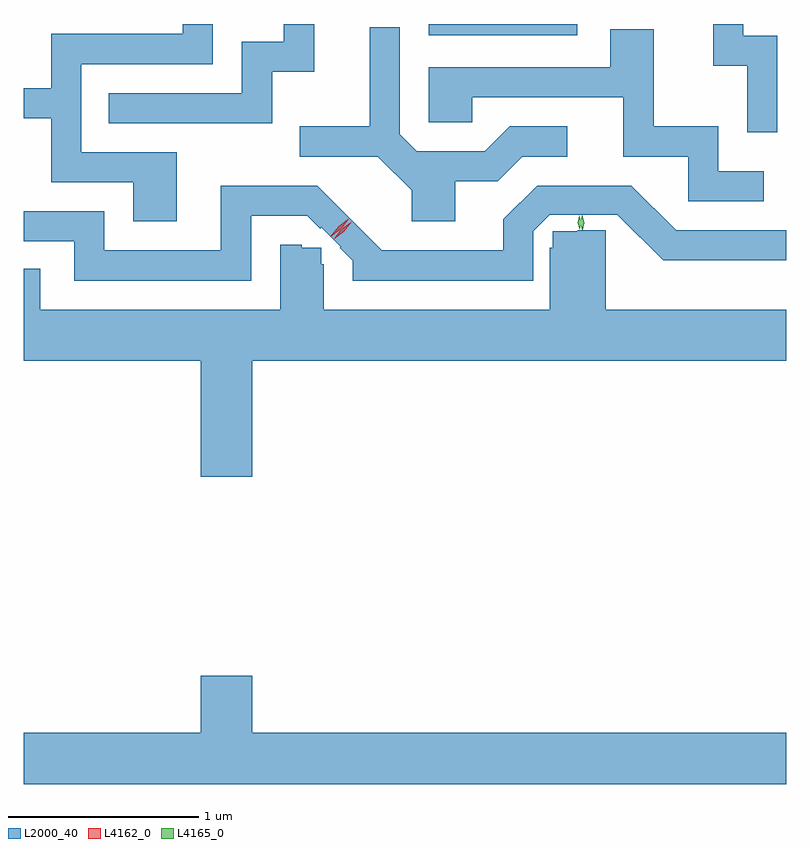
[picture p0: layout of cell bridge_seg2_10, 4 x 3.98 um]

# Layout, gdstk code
import gdstk
lib = gdstk.Library(unit=1e-6, precision=1e-09)
def R(c, l, rs):  # rectangles x0, y0, x1, y1
    for r in rs: c.add(gdstk.rectangle(r[:2], r[2:], *l))
def P(c, l, *ps):  # polygons
    for p in ps: c.add(gdstk.Polygon(p, *l))
L2000_40 = (2000, 40)
L4162_0 = (4162, 0)
L4165_0 = (4165, 0)

bridge_seg2_10 = lib.new_cell('bridge_seg2_10')
R(bridge_seg2_10, L2000_40, [(1894.591,1014.501,1895.369,1014.561)])
P(bridge_seg2_10, L2000_40, [(1893.769,1014.311),(1893.989,1014.311),(1893.989,1014.561),(1893.831,1014.561),(1893.831,1014.469),(1893.611,1014.469),(1893.611,1014.199),(1892.913,1014.199),(1892.913,1014.041),(1893.769,1014.041)],
  [(1896.419,1014.499),(1896.239,1014.499),(1896.239,1014.561),(1896.081,1014.561),(1896.081,1014.341),(1896.261,1014.341),(1896.261,1013.993),(1896.419,1013.993)],
  [(1893.269,1013.889),(1892.769,1013.889),(1892.769,1014.351),(1893.459,1014.351),(1893.459,1014.561),(1893.301,1014.561),(1893.301,1014.509),(1892.611,1014.509),(1892.611,1014.224),(1892.466,1014.224),(1892.466,1014.066),(1892.611,1014.066),(1892.611,1013.731),(1893.041,1013.731),(1893.041,1013.526),(1893.269,1013.526)],
  [(1894.729,1013.736),(1894.952,1013.736),(1895.082,1013.866),(1895.318,1013.866),(1895.318,1014.024),(1895.014,1014.024),(1894.884,1013.894),(1894.527,1013.894),(1894.439,1013.982),(1894.439,1014.543),(1894.281,1014.543),(1894.281,1014.024),(1893.913,1014.024),(1893.913,1013.866),(1894.324,1013.866),(1894.501,1013.689),(1894.501,1013.526),(1894.729,1013.526)],
  [(1896.348,1013.789),(1896.109,1013.789),(1896.109,1014.024),(1895.769,1014.024),(1895.769,1014.534),(1895.541,1014.534),(1895.541,1014.334),(1894.591,1014.334),(1894.591,1014.046),(1894.819,1014.046),(1894.819,1014.176),(1895.611,1014.176),(1895.611,1013.866),(1895.951,1013.866),(1895.951,1013.631),(1896.348,1013.631)],
  [(1893.659,1013.556),(1893.954,1013.556),(1894.022,1013.488),(1894.028,1013.494),(1894.129,1013.393),(1894.123,1013.387),(1894.191,1013.319),(1894.191,1013.216),(1895.139,1013.216),(1895.139,1013.474),(1895.226,1013.561),(1895.579,1013.561),(1895.819,1013.321),(1896.466,1013.321),(1896.466,1013.479),(1895.887,1013.479),(1895.652,1013.714),(1895.159,1013.714),(1894.981,1013.537),(1894.981,1013.374),(1894.345,1013.374),(1894.005,1013.714),(1893.501,1013.714),(1893.501,1013.374),(1892.889,1013.374),(1892.889,1013.579),(1892.466,1013.579),(1892.466,1013.421),(1892.731,1013.421),(1892.731,1013.216),(1893.659,1013.216)],
  [(1893.664,1012.796),(1896.466,1012.796),(1896.466,1013.064),(1895.519,1013.064),(1895.519,1013.387),(1895.518,1013.387),(1895.518,1013.48),(1895.373,1013.48),(1895.373,1013.475),(1895.24,1013.475),(1895.24,1013.387),(1895.226,1013.387),(1895.226,1013.064),(1894.039,1013.064),(1894.039,1013.3),(1894.028,1013.3),(1894.028,1013.388),(1893.925,1013.388),(1893.925,1013.404),(1893.811,1013.404),(1893.811,1013.064),(1892.554,1013.064),(1892.554,1013.278),(1892.466,1013.278),(1892.466,1012.796),(1893.396,1012.796),(1893.396,1012.186),(1893.664,1012.186)],
  [(1896.466,1010.844),(1893.664,1010.844),(1893.664,1011.144),(1893.396,1011.144),(1893.396,1010.844),(1892.466,1010.844),(1892.466,1010.576),(1896.466,1010.576)])
P(bridge_seg2_10, L4162_0, [(1894.075,1013.445),(1894.075,1013.446),(1894.118,1013.501),(1894.174,1013.543),(1894.174,1013.543),(1894.174,1013.542),(1894.132,1013.487),(1894.076,1013.445)],
  [(1894.092,1013.432),(1894.092,1013.433),(1894.133,1013.486),(1894.187,1013.525),(1894.187,1013.525),(1894.187,1013.524),(1894.146,1013.471),(1894.092,1013.432)])
P(bridge_seg2_10, L4165_0, [(1895.397,1013.482),(1895.396,1013.483),(1895.386,1013.52),(1895.395,1013.557),(1895.395,1013.558),(1895.396,1013.557),(1895.406,1013.52),(1895.397,1013.483)],
  [(1895.381,1013.484),(1895.381,1013.484),(1895.371,1013.519),(1895.379,1013.555),(1895.38,1013.555),(1895.38,1013.555),(1895.39,1013.52),(1895.382,1013.484)])

lib.write_gds('bridge_seg2_10.gds')
